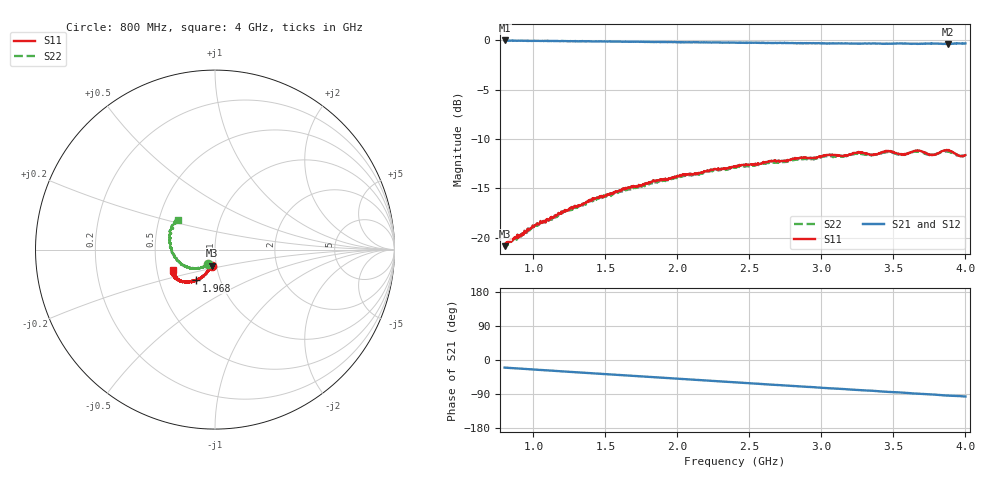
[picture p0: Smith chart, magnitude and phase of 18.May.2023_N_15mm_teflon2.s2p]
!Keysight Technologies N9950B: A.12.38
!Date: Thursday, 18 May 2023 16:46:47
!Timezone: (UTC-06:00) Central Time (US & Canada)
!Model: N9950B
!Serial: MY61131330
!GPS Latitude:
!GPS Longitude:
!GPS TimeStamp: 0001-01-01 00:00:00Z
!GPS Seconds Since Last Read: 0
!CHECKSUM:0837449297
!Correction: S11(ON U)S21(ON U)S12(ON U)S22(ON U)
!S2P File: Measurements:S11,S21,S12,S22:
# Hz S DB R 50
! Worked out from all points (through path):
!   1001 points, 800 MHz to 4 GHz, reference 50 ohm
!   highest |S21| = -0.03 dB at 803.2 MHz (marker M1); lowest = -0.4 dB at 3.882 GHz (marker M2)
!   group delay of S21, straight-line fit = 66.2 ps
!   lowest |S11| = -20.8 dB at 800 MHz (marker M3), VSWR 1.20, Z = 47.4 - j8.48 ohm
!   |S11| at or under -10 dB: start of sweep to end of sweep
!   |S22| runs from -20.8 to -11.2 dB; largest |S21 - S12| = 0.006
!   S11 on the Smith chart (normalised r, x): 800 MHz: 0.95, -0.17; 1.968 GHz: 0.76, -0.27; 4 GHz: 0.60, -0.15
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8e8  -20.84 -102.1  -0.05 -20.1  -0.06 -20.1  -20.79 -116.4
8.032e8  -20.59 -102.9  -0.03 -20.1  -0.07 -20.2  -20.75 -117.4
1.0112e9  -18.71 -106.2  -0.06 -25.4  -0.08 -25.2  -18.78 -123.4
1.3344e9  -16.64 -111.9  -0.12 -33.1  -0.12 -33.2  -16.66 -134.5
1.6288e9  -15.04 -117.1  -0.16 -40.6  -0.16 -40.3  -15.18 -144.0
1.8688e9  -14.16 -120.3  -0.18 -46.3  -0.21 -46.2  -14.23 -151.6
1.968e9  -13.87 -121.8  -0.21 -48.5  -0.21 -48.6  -13.95 -154.8
2.4e9  -12.83 -128.9  -0.26 -59.0  -0.26 -59.0  -12.92 -169.1
2.8352e9  -11.94 -135.1  -0.31 -69.4  -0.32 -69.3  -12.00 176.8
2.9344e9  -11.93 -135.0  -0.31 -71.6  -0.32 -71.5  -12.05 172.3
3.0464e9  -11.61 -138.5  -0.33 -74.4  -0.36 -74.4  -11.72 170.0
3.1616e9  -11.66 -138.8  -0.33 -76.7  -0.33 -76.8  -11.72 165.4
3.2608e9  -11.32 -141.7  -0.34 -79.4  -0.35 -79.4  -11.48 163.3
3.36e9  -11.58 -141.8  -0.34 -81.5  -0.33 -81.4  -11.63 159.3
3.4688e9  -11.24 -144.7  -0.36 -84.3  -0.38 -84.3  -11.34 156.6
3.5648e9  -11.56 -145.0  -0.35 -86.1  -0.36 -86.1  -11.61 153.1
3.6768e9  -11.18 -147.8  -0.38 -89.2  -0.38 -89.2  -11.29 150.1
3.7664e9  -11.64 -147.6  -0.36 -90.8  -0.36 -90.7  -11.65 146.7
3.8272e9  -11.34 -152.1  -0.36 -92.6  -0.38 -92.6  -11.35 147.1
3.8816e9  -11.14 -150.6  -0.40 -94.1  -0.39 -94.0  -11.30 143.2
3.9456e9  -11.61 -149.0  -0.32 -95.1  -0.36 -95.0  -11.66 139.8
4e9  -11.63 -154.0  -0.33 -96.4  -0.36 -96.4  -11.60 141.5
